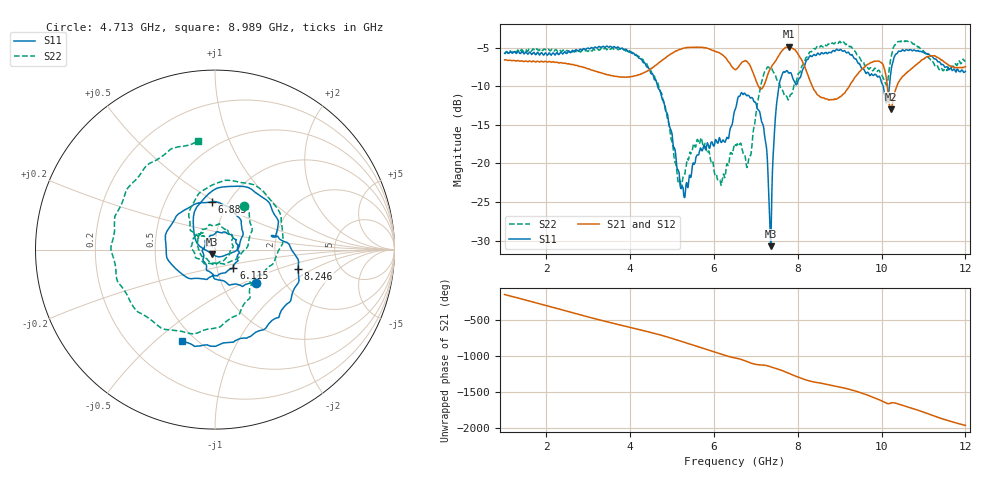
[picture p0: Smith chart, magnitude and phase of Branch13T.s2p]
!Keysight Technologies N9917A: A.08.15
!Date: Friday, 06 October 2017 10:06:40
!Timezone: (GMT-08:00) Pacific Time (US & Canada)
!Model: N9917A
!Serial: MY53102735
!GPS Latitude:
!GPS Longitude:
!GPS TimeStamp: 0001-01-01 00:00:00Z
!GPS Seconds Since Last Read: 0
!CHECKSUM:0068943528
!Correction: S11(ON U)S21(ON U)S12(ON U)S22(ON U)
!S2P File: Measurements:S11,S21,S12,S22:
# Hz S DB R 50
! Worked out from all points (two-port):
!   801 points, 1 GHz to 12 GHz, reference 50 ohm
!   highest |S21| = -4.86 dB at 7.779 GHz (marker M1); lowest = -13.0 dB at 10.23 GHz (marker M2)
!   |S21| within 3 dB of the highest: start of sweep to 3.055 GHz; 4.461 GHz to 6.906 GHz (2.444 GHz wide, 43 % of centre)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
!   lowest |S11| = -30.7 dB at 7.353 GHz (marker M3), VSWR 1.06, Z = 48.4 - j2.39 ohm
!   |S11| at or under -10 dB: 4.653 GHz to 7.548 GHz (2.895 GHz wide, 47.5 % of centre); 10.04 GHz to 10.19 GHz (149.1 MHz wide, 1.47 % of centre)
!   |S22| runs from -23.3 to -4.1 dB; largest |S21 - S12| = 0.016
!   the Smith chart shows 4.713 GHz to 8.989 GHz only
!   S11 on the Smith chart (normalised r, x): 4.713 GHz: 1.45, -0.60; 6.115 GHz: 1.20, -0.25; 6.885 GHz: 0.84, +0.48; 8.246 GHz: 2.57, -0.73; 8.989 GHz: 0.43, -0.61
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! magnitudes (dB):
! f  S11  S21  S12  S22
! 1 GHz  -5.7  -6.6  -6.6  -5.8
! 2.842 GHz  -5.3  -7.5  -7.5  -5.4
! 3.942 GHz  -5.5  -8.8  -8.8  -5.3
! 4.671 GHz  -10.3  -7.0  -7.0  -9.8
! 4.713 GHz  -10.5  -6.8  -6.8  -10.7
! 5.263 GHz  -23.2  -5.1  -5.1  -21.7
! 5.647 GHz  -18.5  -4.9  -5.0  -17.5
! 6.115 GHz  -16.8  -5.6  -5.6  -22.3
! 6.5 GHz  -13.1  -7.8  -7.8  -17.5
! 6.885 GHz  -11.5  -7.6  -7.6  -18.7
! 7.188 GHz  -15.5  -9.9  -10.0  -8.4
! 7.353 GHz  -30.7  -7.7  -7.6  -7.6
! 7.531 GHz  -10.7  -6.2  -6.1  -9.4
! 7.779 GHz  -8.3  -4.9  -4.9  -11.7
! 8.246 GHz  -6.5  -8.6  -8.6  -6.0
! 8.342 GHz  -6.1  -9.9  -10.0  -5.4
! 8.989 GHz  -5.3  -11.4  -11.3  -4.2
! 9.883 GHz  -8.6  -6.7  -6.8  -8.0
! 10.17 GHz  -10.7  -11.9  -11.8  -8.3
! 10.23 GHz  -8.0  -13.0  -13.0  -6.2
! 11.04 GHz  -5.6  -6.3  -6.3  -5.7
! 12 GHz  -8.1  -7.5  -7.5  -6.8
